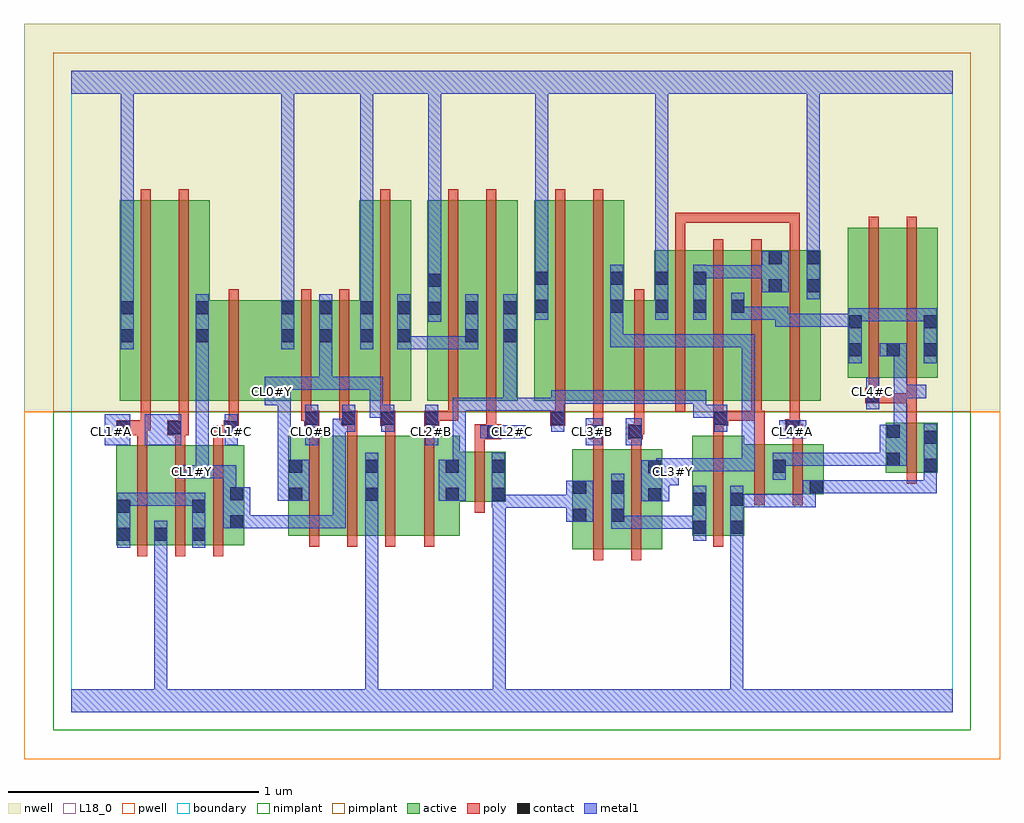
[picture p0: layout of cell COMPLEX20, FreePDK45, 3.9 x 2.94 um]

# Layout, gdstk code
import gdstk
lib = gdstk.Library(unit=1e-6, precision=1e-09)
def R(c, l, rs):  # rectangles x0, y0, x1, y1
    for r in rs: c.add(gdstk.rectangle(r[:2], r[2:], *l))
def A(c, l, x, y, w, h, nx, ny, dx, dy):  # array of equal rectangles
    R(c, l, [(x+i*dx, y+j*dy, x+i*dx+w, y+j*dy+h) for i in range(nx) for j in range(ny)])
active = (1, 0)
pwell = (2, 0)
nwell = (3, 0)
nimplant = (4, 0)
pimplant = (5, 0)
poly = (9, 0)
contact = (10, 0)
metal1 = (11, 0)
L18_0 = (18, 0)
boundary = (235, 0)

complex20 = lib.new_cell('COMPLEX20')
R(complex20, active, [(2,0.65,2.212,1.05), (2.152,0.65,2.36,1.05), (0.18,0.666,0.388,1.066), (0.18,0.666,0.24,1.066), (0.328,0.666,0.54,1.066), (0.328,0.666,0.388,1.066), (0.48,0.666,0.692,1.066), (0.48,0.68,0.54,1.066), (0.866,0.704,1.046,1.104), (0.866,0.704,0.926,1.104), (1.046,0.704,1.23,1.104), (1.17,0.704,1.35,1.104), (1.17,0.704,1.23,1.104), (1.35,0.704,1.552,1.104), (1.492,0.704,1.552,1.012), (2.48,0.704,2.688,1.104), (2.628,0.704,2.688,0.88), (2.48,0.708,2.54,1.104), (0.632,0.73,0.692,1.066), (2,0.756,2.06,1.05), (2.152,0.756,2.212,0.928), (2.3,0.756,2.36,1.05), (1.492,0.84,1.736,1.04), (1.676,0.84,1.736,1.04), (2.628,0.87,2.856,1.07), (2.796,0.87,3.004,1.07), (2.944,0.87,3.004,1.07), (2.796,0.952,2.856,1.07), (3.252,0.956,3.312,1.156), (3.252,0.956,3.46,1.156), (3.4,0.956,3.46,1.156), (0.194,1.244,0.374,2.044), (0.194,1.244,0.254,2.044), (0.374,1.244,0.554,2.044), (0.494,1.244,0.894,1.644), (0.494,1.244,0.554,1.694), (0.834,1.244,1.046,1.644), (0.834,1.244,0.894,1.644), (0.986,1.244,1.046,1.644), (0.986,1.244,1.21,1.644), (1.15,1.244,1.21,1.644), (1.15,1.244,1.358,2.044), (1.298,1.244,1.358,2.044), (1.422,1.244,1.482,2.044), (1.422,1.244,1.63,2.044), (1.57,1.244,1.782,2.044), (1.722,1.244,1.782,2.044), (1.848,1.244,2.028,2.044), (1.848,1.244,1.908,2.044), (2.028,1.244,2.208,2.044), (2.148,1.244,2.388,1.644), (2.328,1.244,2.54,1.844), (2.48,1.244,2.692,1.844), (2.632,1.244,2.84,1.844), (2.78,1.244,2.84,1.844), (2.78,1.244,2.992,1.844), (2.932,1.244,2.992,1.844), (1.57,1.31,1.63,2.044), (3.1,1.334,3.312,1.934), (3.1,1.334,3.16,1.844), (3.252,1.334,3.312,1.934), (3.252,1.334,3.46,1.934), (3.4,1.334,3.46,1.934), (2.148,1.366,2.208,2.044), (2.328,1.476,2.388,1.762), (2.48,1.556,2.54,1.844), (2.632,1.556,2.692,1.844)])
R(complex20, pwell, [(-0.188,-0.188,3.708,1.2)])
R(complex20, nwell, [(-0.188,1.2,3.708,2.748)])
R(complex20, nimplant, [(-0.072,-0.072,3.592,1.2)])
R(complex20, pimplant, [(-0.072,1.2,3.592,2.632)])
A(complex20, poly, 0.264, 0.622, 0.04, 0.488, 3, 1, 0.152, 0)
A(complex20, poly, 0.95, 0.66, 0.04, 0.488, 3, 1, 0.152, 0)
A(complex20, poly, 0.264, 1.07, 0.04, 0.076, 3, 1, 0.152, 0)
A(complex20, poly, 0.95, 1.108, 0.04, 0.076, 3, 1, 0.152, 0)
A(complex20, poly, 2.412, 1.2, 0.04, 0.688, 4, 1, 0.152, 0)
R(complex20, poly, [(2.084,0.606,2.124,1.094), (2.236,0.606,2.276,1.094), (1.41,0.66,1.45,1.148), (2.564,0.66,2.604,1.148), (1.612,0.796,1.652,1.084), (2.728,0.826,2.768,1.114), (2.88,0.826,2.92,1.114), (3.336,0.912,3.376,1.2), (1.612,1.044,1.652,1.13), (2.084,1.054,2.124,1.13), (2.236,1.054,2.276,1.13), (2.728,1.074,2.768,1.204), (2.88,1.074,2.92,1.15), (1.612,1.09,1.718,1.15), (2.064,1.09,2.124,1.15), (2.222,1.09,2.282,1.15), (0.18,1.106,0.304,1.166), (0.384,1.106,0.47,1.166), (0.416,1.106,0.456,1.146), (0.416,1.106,0.456,1.146), (0.568,1.106,0.65,1.146), (0.61,1.106,0.65,1.146), (0.61,1.106,0.67,1.166), (1.41,1.108,1.45,1.184), (2.564,1.108,2.604,1.184), (1.658,1.11,1.698,1.15), (1.658,1.11,1.698,1.15), (1.658,1.11,1.698,1.24), (2.084,1.11,2.124,1.15), (2.084,1.11,2.124,1.15), (2.084,1.11,2.124,1.24), (2.242,1.11,2.282,1.15), (2.242,1.11,2.288,1.15), (2.248,1.11,2.288,1.24), (2.85,1.11,2.91,1.17), (2.87,1.11,2.91,1.15), (2.87,1.11,2.92,1.15), (0.264,1.126,0.304,1.166), (0.264,1.126,0.318,1.166), (0.278,1.126,0.318,1.24), (0.43,1.126,0.47,1.24), (0.63,1.126,0.67,1.24), (2.868,1.13,2.908,1.24), (0.93,1.144,0.99,1.204), (1.078,1.144,1.142,1.204), (1.234,1.144,1.294,1.204), (1.254,1.144,1.294,1.184), (1.254,1.144,1.294,1.184), (1.41,1.144,1.47,1.204), (1.912,1.144,1.972,1.204), (2.564,1.144,2.604,1.184), (2.564,1.144,2.604,1.184), (2.564,1.144,2.624,1.204), (3.336,1.16,3.376,1.274), (0.918,1.164,0.958,1.24), (0.918,1.164,0.97,1.204), (0.93,1.164,0.97,1.204), (1.07,1.164,1.11,1.24), (1.07,1.164,1.118,1.204), (1.078,1.164,1.118,1.204), (1.234,1.164,1.274,1.24), (1.43,1.164,1.47,1.204), (1.43,1.164,1.546,1.204), (1.506,1.164,1.546,1.24), (1.932,1.164,1.972,1.24), (2.564,1.164,2.604,1.24), (2.584,1.164,2.624,1.204), (2.584,1.164,2.624,1.204), (2.584,1.164,2.756,1.204), (2.716,1.164,2.756,1.24), (2.716,1.164,2.768,1.204), (2.728,1.164,2.768,1.204), (2.728,1.164,2.768,1.204), (0.278,1.2,0.318,2.088), (0.43,1.2,0.47,2.088), (0.63,1.2,0.67,1.688), (0.918,1.2,0.958,1.688), (1.07,1.2,1.11,1.688), (1.234,1.2,1.274,2.088), (1.506,1.2,1.546,2.088), (1.658,1.2,1.698,2.088), (1.932,1.2,1.972,2.088), (2.084,1.2,2.124,2.088), (2.248,1.2,2.288,1.688), (3.17,1.234,3.23,1.294), (3.19,1.234,3.23,1.274), (3.19,1.234,3.23,1.274), (3.19,1.234,3.376,1.274), (3.336,1.234,3.376,1.33), (3.336,1.234,3.376,1.274), (3.336,1.234,3.376,1.274), (3.336,1.234,3.376,1.274), (3.184,1.254,3.224,1.33), (3.184,1.29,3.224,1.978), (3.336,1.29,3.376,1.978), (2.412,1.848,2.452,1.994), (2.868,1.848,2.908,1.994), (2.412,1.954,2.452,1.994), (2.412,1.954,2.452,1.994), (2.412,1.954,2.452,1.994), (2.412,1.954,2.558,1.994), (2.518,1.954,2.558,1.994), (2.518,1.954,2.558,1.994), (2.518,1.954,2.558,1.994), (2.518,1.954,2.784,1.994), (2.744,1.954,2.784,1.994), (2.744,1.954,2.908,1.994), (2.868,1.954,2.908,1.994), (2.868,1.954,2.908,1.994), (2.868,1.954,2.908,1.994)])
A(complex20, contact, 2.332, 1.594, 0.052, 0.052, 3, 1, 0.152, 0)
R(complex20, contact, [(0.184,0.684,0.236,0.736), (0.332,0.684,0.384,0.736), (0.484,0.684,0.536,0.736), (2.484,0.712,2.536,0.764), (2.632,0.712,2.684,0.764), (0.636,0.734,0.688,0.786), (2.004,0.76,2.056,0.812), (2.156,0.76,2.208,0.812), (0.184,0.796,0.236,0.848), (0.484,0.796,0.536,0.848), (2.484,0.824,2.536,0.876), (2.632,0.824,2.684,0.876), (2.304,0.842,2.356,0.894), (0.87,0.844,0.922,0.896), (1.174,0.844,1.226,0.896), (1.496,0.844,1.548,0.896), (1.68,0.844,1.732,0.896), (0.636,0.846,0.688,0.898), (2.004,0.872,2.056,0.924), (2.156,0.872,2.208,0.924), (2.948,0.874,3,0.926), (2.304,0.954,2.356,1.006), (0.87,0.956,0.922,1.008), (1.174,0.956,1.226,1.008), (1.496,0.956,1.548,1.008), (1.68,0.956,1.732,1.008), (2.8,0.956,2.852,1.008), (3.404,0.96,3.456,1.012), (3.256,0.984,3.308,1.036), (3.404,1.072,3.456,1.124), (1.662,1.094,1.714,1.146), (2.068,1.094,2.12,1.146), (2.226,1.094,2.278,1.146), (3.256,1.096,3.308,1.148), (0.184,1.11,0.236,1.162), (0.388,1.11,0.44,1.162), (0.614,1.11,0.666,1.162), (2.854,1.114,2.906,1.166), (0.934,1.148,0.986,1.2), (1.082,1.148,1.134,1.2), (1.238,1.148,1.29,1.2), (1.414,1.148,1.466,1.2), (1.916,1.148,1.968,1.2), (2.568,1.148,2.62,1.2), (3.174,1.238,3.226,1.29), (3.104,1.42,3.156,1.472), (3.256,1.42,3.308,1.472), (3.404,1.42,3.456,1.472), (0.198,1.476,0.25,1.528), (0.498,1.476,0.55,1.528), (0.838,1.476,0.89,1.528), (0.99,1.476,1.042,1.528), (1.154,1.476,1.206,1.528), (1.302,1.476,1.354,1.528), (1.574,1.476,1.626,1.528), (1.726,1.476,1.778,1.528), (3.104,1.532,3.156,1.584), (3.404,1.532,3.456,1.584), (1.426,1.586,1.478,1.638), (0.198,1.588,0.25,1.64), (0.498,1.588,0.55,1.64), (0.838,1.588,0.89,1.64), (0.99,1.588,1.042,1.64), (1.154,1.588,1.206,1.64), (1.302,1.588,1.354,1.64), (1.574,1.588,1.626,1.64), (1.726,1.588,1.778,1.64), (1.852,1.594,1.904,1.646), (2.152,1.594,2.204,1.646), (2.784,1.676,2.836,1.728), (2.936,1.676,2.988,1.728), (1.426,1.698,1.478,1.75), (1.852,1.706,1.904,1.758), (2.152,1.706,2.204,1.758), (2.332,1.706,2.384,1.758), (2.484,1.706,2.536,1.758), (2.784,1.788,2.836,1.84), (2.936,1.788,2.988,1.84)])
R(complex20, metal1, [(0,0,3.52,0.092), (0.332,0.04,0.384,0.092), (0.332,0.04,0.384,0.092), (0.332,0.04,0.384,0.092), (0.332,0.04,0.384,0.092), (0.332,0.04,0.384,0.092), (0.332,0.04,0.384,0.092), (0.332,0.04,0.384,0.708), (1.174,0.04,1.226,0.092), (1.174,0.04,1.226,0.092), (1.174,0.04,1.226,0.092), (1.174,0.04,1.226,0.092), (1.174,0.04,1.226,0.092), (1.174,0.04,1.226,0.092), (1.174,0.04,1.226,0.868), (1.684,0.04,1.736,0.092), (1.684,0.04,1.736,0.092), (1.684,0.04,1.736,0.092), (1.684,0.04,1.736,0.092), (1.684,0.04,1.736,0.092), (1.684,0.04,1.736,0.092), (1.684,0.04,1.736,0.092), (1.684,0.04,1.736,0.092), (1.684,0.04,1.736,0.092), (1.684,0.04,1.736,0.092), (1.684,0.04,1.736,0.092), (1.684,0.04,1.736,0.092), (1.684,0.04,1.736,0.868), (2.632,0.04,2.684,0.092), (2.632,0.04,2.684,0.092), (2.632,0.04,2.684,0.092), (2.632,0.04,2.684,0.092), (2.632,0.04,2.684,0.092), (2.632,0.04,2.684,0.092), (2.632,0.04,2.684,0.092), (2.632,0.04,2.684,0.092), (2.632,0.04,2.684,0.736), (0.184,0.656,0.236,0.876), (0.332,0.656,0.384,0.708), (0.332,0.656,0.384,0.708), (0.332,0.656,0.384,0.708), (0.332,0.656,0.384,0.708), (0.332,0.656,0.384,0.708), (0.332,0.656,0.384,0.708), (0.332,0.656,0.384,0.764), (0.484,0.656,0.536,0.876), (2.484,0.684,2.536,0.904), (2.632,0.684,2.684,0.736), (2.632,0.684,2.684,0.736), (2.632,0.684,2.684,0.736), (2.632,0.684,2.684,0.736), (2.632,0.684,2.684,0.904), (2.156,0.732,2.208,0.784), (2.156,0.732,2.208,0.784), (2.156,0.732,2.208,0.952), (2.156,0.732,2.388,0.784), (2.336,0.732,2.388,0.784), (2.336,0.732,2.388,0.784), (2.336,0.732,2.388,0.784), (2.336,0.732,2.536,0.784), (0.608,0.734,0.716,0.898), (0.664,0.734,0.716,0.786), (0.664,0.734,0.716,0.786), (0.664,0.734,0.826,0.786), (0.774,0.734,0.826,0.786), (0.774,0.734,0.826,0.786), (0.774,0.734,0.826,0.786), (0.774,0.734,1.096,0.786), (1.044,0.734,1.096,0.786), (1.044,0.734,1.096,0.786), (1.044,0.734,1.096,0.786), (1.044,0.734,1.096,1.172), (1.976,0.76,2.084,0.924), (1.174,0.816,1.226,0.868), (1.174,0.816,1.226,0.868), (1.174,0.816,1.226,0.868), (1.174,0.816,1.226,0.868), (1.174,0.816,1.226,0.868), (1.174,0.816,1.226,0.868), (1.174,0.816,1.226,1.036), (1.68,0.816,1.732,1.036), (1.68,0.816,1.736,0.868), (1.684,0.816,1.736,0.868), (1.684,0.816,1.736,0.868), (1.684,0.816,1.736,0.868), (1.684,0.816,1.736,0.868), (1.684,0.816,1.736,0.868), (1.684,0.816,1.736,0.868), (1.684,0.816,1.736,0.868), (1.684,0.816,1.968,0.868), (1.916,0.816,1.968,0.868), (1.916,0.816,2.028,0.868), (2.632,0.818,2.73,0.87), (2.678,0.818,2.73,0.87), (2.678,0.818,2.862,0.87), (2.81,0.818,2.862,0.87), (2.81,0.818,2.862,0.87), (2.81,0.818,2.862,0.87), (2.81,0.818,2.862,0.87), (2.81,0.818,2.862,0.87), (2.81,0.818,2.972,0.87), (2.92,0.818,2.972,0.926), (0.184,0.824,0.236,0.876), (0.184,0.824,0.236,0.876), (0.184,0.824,0.368,0.876), (0.316,0.824,0.368,0.876), (0.316,0.824,0.536,0.876), (0.484,0.824,0.536,0.876), (0.484,0.824,0.536,0.876), (2.276,0.842,2.388,1.006), (0.824,0.844,0.95,1.008), (1.468,0.844,1.576,1.008), (0.608,0.846,0.66,0.986), (2.92,0.874,2.972,0.926), (2.92,0.874,3.028,0.926), (2.976,0.874,3.156,0.926), (3.104,0.874,3.156,0.926), (3.104,0.874,3.266,0.926), (3.214,0.874,3.266,0.926), (3.214,0.874,3.266,0.926), (3.214,0.874,3.266,0.926), (3.214,0.874,3.456,0.926), (3.404,0.874,3.456,0.984), (2.336,0.906,2.426,1.014), (2.8,0.928,2.852,1.036), (3.404,0.932,3.456,0.984), (3.404,0.932,3.456,1.152), (0.426,0.934,0.55,0.986), (0.498,0.934,0.55,0.986), (0.498,0.934,0.55,0.986), (0.498,0.934,0.66,0.986), (0.498,0.934,0.55,1.5), (0.608,0.934,0.66,0.986), (0.608,0.934,0.66,0.986), (0.608,0.934,0.66,0.986), (2.336,0.954,2.388,1.006), (0.824,0.956,0.876,1.008), (0.824,0.956,0.876,1.008), (0.824,0.956,0.876,1.278), (1.524,0.956,1.576,1.256), (2.374,0.962,2.426,1.014), (2.374,0.962,2.426,1.014), (2.374,0.962,2.574,1.014), (2.522,0.962,2.574,1.014), (2.522,0.962,2.574,1.014), (2.522,0.962,2.574,1.014), (2.522,0.962,2.73,1.014), (2.678,0.962,2.73,1.014), (2.678,0.962,2.73,1.508), (2.8,0.984,2.852,1.036), (2.8,0.984,2.852,1.036), (2.8,0.984,3.116,1.036), (3.064,0.984,3.116,1.036), (3.064,0.984,3.116,1.036), (3.064,0.984,3.116,1.036), (3.064,0.984,3.28,1.036), (3.228,0.984,3.28,1.036), (3.228,0.984,3.28,1.036), (3.228,0.984,3.336,1.148), (0.134,1.066,0.236,1.19), (0.294,1.066,0.44,1.19), (0.614,1.066,0.666,1.19), (0.934,1.066,0.986,1.228), (1.414,1.066,1.466,1.228), (2.054,1.066,2.12,1.174), (2.214,1.066,2.278,1.174), (1.634,1.094,1.814,1.146), (2.826,1.094,2.934,1.166), (3.284,1.096,3.336,1.306), (1.044,1.12,1.096,1.172), (1.044,1.12,1.134,1.172), (1.082,1.12,1.134,1.228), (1.238,1.12,1.29,1.228), (1.916,1.12,1.968,1.256), (2.568,1.12,2.62,1.228), (1.192,1.176,1.29,1.228), (1.192,1.176,1.244,1.338), (2.484,1.176,2.536,1.284), (2.484,1.176,2.62,1.228), (1.524,1.204,1.576,1.256), (1.524,1.204,1.576,1.256), (1.524,1.204,1.576,1.256), (1.524,1.204,1.576,1.256), (1.524,1.204,1.576,1.256), (1.524,1.204,1.778,1.256), (1.726,1.204,1.778,1.256), (1.726,1.204,1.778,1.256), (1.726,1.204,1.778,1.256), (1.726,1.204,1.968,1.256), (1.726,1.204,1.778,1.5), (1.916,1.204,1.968,1.256), (1.916,1.204,1.968,1.284), (3.174,1.21,3.226,1.334), (0.774,1.226,0.876,1.338), (1.916,1.232,2.078,1.284), (2.026,1.232,2.078,1.284), (2.026,1.232,2.188,1.284), (2.136,1.232,2.188,1.284), (2.136,1.232,2.188,1.284), (2.136,1.232,2.188,1.284), (2.136,1.232,2.388,1.284), (2.336,1.232,2.388,1.284), (2.336,1.232,2.388,1.284), (2.336,1.232,2.388,1.284), (2.336,1.232,2.536,1.284), (3.284,1.254,3.336,1.306), (3.284,1.254,3.336,1.306), (3.284,1.254,3.336,1.472), (3.284,1.254,3.414,1.306), (0.824,1.286,0.876,1.338), (0.824,1.286,0.876,1.338), (0.824,1.286,1.042,1.338), (0.99,1.286,1.042,1.338), (0.99,1.286,1.096,1.338), (0.99,1.286,1.042,1.5), (1.044,1.286,1.096,1.338), (1.044,1.286,1.244,1.338), (3.104,1.392,3.156,1.612), (3.404,1.392,3.456,1.612), (3.228,1.42,3.336,1.472), (0.198,1.448,0.25,1.668), (0.498,1.448,0.55,1.668), (0.838,1.448,0.89,1.668), (0.99,1.448,1.042,1.668), (1.154,1.448,1.206,1.668), (1.302,1.448,1.354,1.5), (1.302,1.448,1.354,1.5), (1.302,1.448,1.354,1.668), (1.302,1.448,1.466,1.5), (1.414,1.448,1.466,1.5), (1.414,1.448,1.626,1.5), (1.574,1.448,1.626,1.668), (1.726,1.448,1.778,1.668), (2.152,1.456,2.388,1.508), (2.152,1.456,2.204,1.618), (2.336,1.456,2.388,1.508), (2.336,1.456,2.388,1.508), (2.336,1.456,2.388,1.508), (2.336,1.456,2.536,1.508), (2.484,1.456,2.536,1.508), (2.484,1.456,2.536,1.508), (2.484,1.456,2.536,1.508), (2.484,1.456,2.73,1.508), (2.678,1.456,2.73,1.508), (2.678,1.456,2.73,1.508), (2.678,1.456,2.73,1.508), (2.81,1.538,2.862,1.59), (2.81,1.538,2.862,1.59), (2.81,1.538,2.862,1.59), (2.81,1.538,3.116,1.59), (2.81,1.538,2.862,1.618), (3.064,1.538,3.116,1.59), (3.064,1.538,3.156,1.59), (1.426,1.558,1.478,1.778), (3.104,1.56,3.156,1.612), (3.104,1.56,3.156,1.612), (3.104,1.56,3.266,1.612), (3.214,1.56,3.266,1.612), (3.214,1.56,3.266,1.612), (3.214,1.56,3.266,1.612), (3.214,1.56,3.456,1.612), (3.404,1.56,3.456,1.612), (3.404,1.56,3.456,1.612), (1.852,1.566,1.904,1.786), (2.152,1.566,2.204,1.618), (2.152,1.566,2.204,1.786), (2.332,1.566,2.384,1.786), (2.484,1.566,2.536,1.786), (2.636,1.566,2.688,1.674), (2.636,1.566,2.73,1.618), (2.678,1.566,2.73,1.618), (2.678,1.566,2.862,1.618), (2.81,1.566,2.862,1.618), (0.198,1.616,0.25,2.52), (0.838,1.616,0.89,1.668), (0.838,1.616,0.89,1.668), (0.838,1.616,0.89,1.668), (0.838,1.616,0.89,1.668), (0.838,1.616,0.89,2.52), (1.154,1.616,1.206,2.52), (2.936,1.648,2.988,1.868), (2.756,1.676,2.864,1.84), (1.426,1.726,1.478,1.778), (1.426,1.726,1.478,1.778), (1.426,1.726,1.478,2.52), (2.484,1.732,2.536,1.784), (2.484,1.732,2.536,1.784), (2.484,1.732,2.698,1.784), (2.646,1.732,2.698,1.784), (2.646,1.732,2.73,1.784), (2.678,1.732,2.73,1.784), (2.678,1.732,2.808,1.784), (1.852,1.734,1.904,2.52), (2.332,1.734,2.384,2.52), (2.936,1.816,2.988,2.52), (0,2.468,3.52,2.56), (0.198,2.468,0.25,2.52), (0.198,2.468,0.25,2.52), (0.198,2.468,0.25,2.52), (0.198,2.468,0.25,2.52), (0.198,2.468,0.25,2.52), (0.198,2.468,0.25,2.52), (0.198,2.468,0.25,2.52), (0.198,2.468,0.25,2.52), (0.838,2.468,0.89,2.52), (0.838,2.468,0.89,2.52), (0.838,2.468,0.89,2.52), (0.838,2.468,0.89,2.52), (0.838,2.468,0.89,2.52), (0.838,2.468,0.89,2.52), (0.838,2.468,0.89,2.52), (0.838,2.468,0.89,2.52), (0.838,2.468,0.89,2.52), (0.838,2.468,0.89,2.52), (0.838,2.468,0.89,2.52), (0.838,2.468,0.89,2.52), (1.154,2.468,1.206,2.52), (1.154,2.468,1.206,2.52), (1.154,2.468,1.206,2.52), (1.154,2.468,1.206,2.52), (1.154,2.468,1.206,2.52), (1.154,2.468,1.206,2.52), (1.154,2.468,1.206,2.52), (1.154,2.468,1.206,2.52), (1.426,2.468,1.478,2.52), (1.426,2.468,1.478,2.52), (1.426,2.468,1.478,2.52), (1.426,2.468,1.478,2.52), (1.426,2.468,1.478,2.52), (1.426,2.468,1.478,2.52), (1.852,2.468,1.904,2.52), (1.852,2.468,1.904,2.52), (1.852,2.468,1.904,2.52), (1.852,2.468,1.904,2.52), (1.852,2.468,1.904,2.52), (1.852,2.468,1.904,2.52), (1.852,2.468,1.904,2.52), (1.852,2.468,1.904,2.52), (2.332,2.468,2.384,2.52), (2.332,2.468,2.384,2.52), (2.332,2.468,2.384,2.52), (2.332,2.468,2.384,2.52), (2.332,2.468,2.384,2.52), (2.332,2.468,2.384,2.52), (2.332,2.468,2.384,2.52), (2.332,2.468,2.384,2.52), (2.332,2.468,2.384,2.52), (2.332,2.468,2.384,2.52), (2.332,2.468,2.384,2.52), (2.332,2.468,2.384,2.52), (2.936,2.468,2.988,2.52), (2.936,2.468,2.988,2.52), (2.936,2.468,2.988,2.52), (2.936,2.468,2.988,2.52), (2.936,2.468,2.988,2.52), (2.936,2.468,2.988,2.52), (2.936,2.468,2.988,2.52), (2.936,2.468,2.988,2.52), (2.936,2.468,2.988,2.52), (2.936,2.468,2.988,2.52), (2.936,2.468,2.988,2.52), (2.936,2.468,2.988,2.52)])
A(complex20, L18_0, 0.294, 1.094, 0.052, 0.052, 3, 1, 0.32, 0)
A(complex20, L18_0, 1.414, 1.094, 0.052, 0.052, 3, 1, 0.32, 0)
R(complex20, L18_0, [(0,0,3.52,0.092), (0.332,0.04,0.384,0.092), (0.332,0.04,0.384,0.092), (0.332,0.04,0.384,0.092), (0.332,0.04,0.384,0.092), (0.332,0.04,0.384,0.092), (0.332,0.04,0.384,0.092), (0.332,0.04,0.384,0.708), (1.174,0.04,1.226,0.092), (1.174,0.04,1.226,0.092), (1.174,0.04,1.226,0.092), (1.174,0.04,1.226,0.092), (1.174,0.04,1.226,0.092), (1.174,0.04,1.226,0.092), (1.174,0.04,1.226,0.868), (1.684,0.04,1.736,0.092), (1.684,0.04,1.736,0.092), (1.684,0.04,1.736,0.092), (1.684,0.04,1.736,0.092), (1.684,0.04,1.736,0.092), (1.684,0.04,1.736,0.092), (1.684,0.04,1.736,0.092), (1.684,0.04,1.736,0.092), (1.684,0.04,1.736,0.092), (1.684,0.04,1.736,0.092), (1.684,0.04,1.736,0.092), (1.684,0.04,1.736,0.092), (1.684,0.04,1.736,0.868), (2.632,0.04,2.684,0.092), (2.632,0.04,2.684,0.092), (2.632,0.04,2.684,0.092), (2.632,0.04,2.684,0.092), (2.632,0.04,2.684,0.092), (2.632,0.04,2.684,0.092), (2.632,0.04,2.684,0.092), (2.632,0.04,2.684,0.092), (2.632,0.04,2.684,0.736), (0.332,0.656,0.384,0.708), (0.332,0.656,0.384,0.708), (0.332,0.656,0.384,0.708), (0.332,0.656,0.384,0.708), (0.332,0.656,0.384,0.708), (0.332,0.656,0.384,0.708), (0.332,0.656,0.384,0.764), (2.632,0.684,2.684,0.904), (2.632,0.684,2.684,0.736), (2.632,0.684,2.684,0.736), (2.632,0.684,2.684,0.736), (2.632,0.684,2.684,0.736), (0.608,0.734,0.716,0.898), (0.664,0.734,0.716,0.786), (0.664,0.734,0.716,0.786), (0.664,0.734,0.826,0.786), (0.774,0.734,0.826,0.786), (0.774,0.734,0.826,0.786), (0.774,0.734,0.826,0.786), (0.774,0.734,1.096,0.786), (1.044,0.734,1.096,0.786), (1.044,0.734,1.096,0.786), (1.044,0.734,1.096,0.786), (1.044,0.734,1.096,1.172), (1.976,0.76,2.084,0.924), (1.174,0.816,1.226,1.036), (1.174,0.816,1.226,0.868), (1.174,0.816,1.226,0.868), (1.174,0.816,1.226,0.868), (1.174,0.816,1.226,0.868), (1.174,0.816,1.226,0.868), (1.174,0.816,1.226,0.868), (1.68,0.816,1.732,1.036), (1.68,0.816,1.736,0.868), (1.684,0.816,1.736,0.868), (1.684,0.816,1.736,0.868), (1.684,0.816,1.736,0.868), (1.684,0.816,1.736,0.868), (1.684,0.816,1.736,0.868), (1.684,0.816,1.736,0.868), (1.684,0.816,1.736,0.868), (1.684,0.816,1.968,0.868), (1.916,0.816,1.968,0.868), (1.916,0.816,2.028,0.868), (2.632,0.818,2.73,0.87), (2.678,0.818,2.73,0.87), (2.678,0.818,2.862,0.87), (2.81,0.818,2.862,0.87), (2.81,0.818,2.862,0.87), (2.81,0.818,2.862,0.87), (2.81,0.818,2.862,0.87), (2.81,0.818,2.862,0.87), (2.81,0.818,2.972,0.87), (2.92,0.818,2.972,0.926), (2.276,0.842,2.388,1.006), (0.824,0.844,0.95,1.008), (0.608,0.846,0.66,0.986), (2.92,0.874,2.972,0.926), (2.92,0.874,3.028,0.926), (2.976,0.874,3.156,0.926), (3.104,0.874,3.156,0.926), (3.104,0.874,3.266,0.926), (3.214,0.874,3.266,0.926), (3.214,0.874,3.266,0.926), (3.214,0.874,3.266,0.926), (3.214,0.874,3.456,0.926), (3.404,0.874,3.456,0.984), (2.336,0.906,2.426,1.014), (2.8,0.928,2.852,1.036), (3.404,0.932,3.456,1.152), (3.404,0.932,3.456,0.984), (0.426,0.934,0.55,0.986), (0.454,0.934,0.506,0.986), (0.498,0.934,0.55,0.986), (0.498,0.934,0.55,0.986), (0.498,0.934,0.55,1.5), (0.498,0.934,0.66,0.986), (0.608,0.934,0.66,0.986), (0.608,0.934,0.66,0.986), (0.608,0.934,0.66,0.986), (2.374,0.934,2.426,0.986), (2.336,0.954,2.388,1.006), (0.824,0.956,0.876,1.008), (0.824,0.956,0.876,1.008), (0.824,0.956,0.876,1.278), (2.374,0.962,2.426,1.014), (2.374,0.962,2.426,1.014), (2.374,0.962,2.574,1.014), (2.522,0.962,2.574,1.014), (2.522,0.962,2.574,1.014), (2.522,0.962,2.574,1.014), (2.522,0.962,2.73,1.014), (2.678,0.962,2.73,1.014), (2.678,0.962,2.73,1.508), (2.8,0.984,2.852,1.036), (2.8,0.984,2.852,1.036), (2.8,0.984,3.116,1.036), (3.064,0.984,3.116,1.036), (3.064,0.984,3.116,1.036), (3.064,0.984,3.116,1.036), (3.064,0.984,3.28,1.036), (3.228,0.984,3.28,1.036), (3.228,0.984,3.28,1.036), (3.228,0.984,3.336,1.148), (0.134,1.066,0.236,1.19), (0.294,1.066,0.44,1.19), (0.614,1.066,0.666,1.19), (0.934,1.066,0.986,1.228), (1.414,1.066,1.466,1.228), (2.054,1.066,2.12,1.174), (2.214,1.066,2.278,1.174), (0.134,1.094,0.186,1.146), (1.634,1.094,1.814,1.146), (2.214,1.094,2.266,1.146), (2.826,1.094,2.934,1.166), (2.854,1.094,2.906,1.146), (3.284,1.096,3.336,1.306), (1.044,1.12,1.096,1.172), (1.044,1.12,1.134,1.172), (1.082,1.12,1.134,1.228), (1.238,1.12,1.29,1.228), (1.192,1.176,1.244,1.338), (1.192,1.176,1.29,1.228), (3.174,1.21,3.226,1.334), (0.774,1.226,0.876,1.338), (0.774,1.254,0.826,1.306), (3.174,1.254,3.226,1.306), (3.284,1.254,3.336,1.306), (3.284,1.254,3.336,1.306), (3.284,1.254,3.414,1.306), (3.284,1.254,3.336,1.472), (3.334,1.254,3.386,1.306), (0.824,1.286,0.876,1.338), (0.824,1.286,0.876,1.338), (0.824,1.286,1.042,1.338), (0.99,1.286,1.042,1.338), (0.99,1.286,1.042,1.5), (0.99,1.286,1.096,1.338), (1.044,1.286,1.096,1.338), (1.044,1.286,1.244,1.338), (3.228,1.42,3.336,1.472), (0.198,1.448,0.25,1.668), (0.498,1.448,0.55,1.668), (0.838,1.448,0.89,1.668), (0.99,1.448,1.042,1.668), (1.154,1.448,1.206,1.668), (2.152,1.456,2.204,1.618), (2.152,1.456,2.388,1.508), (2.336,1.456,2.388,1.508), (2.336,1.456,2.388,1.508), (2.336,1.456,2.388,1.508), (2.336,1.456,2.536,1.508), (2.484,1.456,2.536,1.508), (2.484,1.456,2.536,1.508), (2.484,1.456,2.536,1.508), (2.484,1.456,2.73,1.508), (2.678,1.456,2.73,1.508), (2.678,1.456,2.73,1.508), (2.678,1.456,2.73,1.508), (1.426,1.558,1.478,1.778), (1.852,1.566,1.904,1.786), (2.152,1.566,2.204,1.786), (2.152,1.566,2.204,1.618), (2.332,1.566,2.384,1.786), (0.198,1.616,0.25,2.52), (0.838,1.616,0.89,1.668), (0.838,1.616,0.89,1.668), (0.838,1.616,0.89,1.668), (0.838,1.616,0.89,1.668), (0.838,1.616,0.89,2.52), (1.154,1.616,1.206,2.52), (2.936,1.648,2.988,1.868), (1.426,1.726,1.478,1.778), (1.426,1.726,1.478,1.778), (1.426,1.726,1.478,2.52), (1.852,1.734,1.904,2.52), (2.332,1.734,2.384,2.52), (2.936,1.816,2.988,2.52), (0,2.468,3.52,2.56), (0.198,2.468,0.25,2.52), (0.198,2.468,0.25,2.52), (0.198,2.468,0.25,2.52), (0.198,2.468,0.25,2.52), (0.198,2.468,0.25,2.52), (0.198,2.468,0.25,2.52), (0.198,2.468,0.25,2.52), (0.198,2.468,0.25,2.52), (0.838,2.468,0.89,2.52), (0.838,2.468,0.89,2.52), (0.838,2.468,0.89,2.52), (0.838,2.468,0.89,2.52), (0.838,2.468,0.89,2.52), (0.838,2.468,0.89,2.52), (0.838,2.468,0.89,2.52), (0.838,2.468,0.89,2.52), (0.838,2.468,0.89,2.52), (0.838,2.468,0.89,2.52), (0.838,2.468,0.89,2.52), (0.838,2.468,0.89,2.52), (1.154,2.468,1.206,2.52), (1.154,2.468,1.206,2.52), (1.154,2.468,1.206,2.52), (1.154,2.468,1.206,2.52), (1.154,2.468,1.206,2.52), (1.154,2.468,1.206,2.52), (1.154,2.468,1.206,2.52), (1.154,2.468,1.206,2.52), (1.426,2.468,1.478,2.52), (1.426,2.468,1.478,2.52), (1.426,2.468,1.478,2.52), (1.426,2.468,1.478,2.52), (1.426,2.468,1.478,2.52), (1.426,2.468,1.478,2.52), (1.852,2.468,1.904,2.52), (1.852,2.468,1.904,2.52), (1.852,2.468,1.904,2.52), (1.852,2.468,1.904,2.52), (1.852,2.468,1.904,2.52), (1.852,2.468,1.904,2.52), (1.852,2.468,1.904,2.52), (1.852,2.468,1.904,2.52), (2.332,2.468,2.384,2.52), (2.332,2.468,2.384,2.52), (2.332,2.468,2.384,2.52), (2.332,2.468,2.384,2.52), (2.332,2.468,2.384,2.52), (2.332,2.468,2.384,2.52), (2.332,2.468,2.384,2.52), (2.332,2.468,2.384,2.52), (2.332,2.468,2.384,2.52), (2.332,2.468,2.384,2.52), (2.332,2.468,2.384,2.52), (2.332,2.468,2.384,2.52), (2.936,2.468,2.988,2.52), (2.936,2.468,2.988,2.52), (2.936,2.468,2.988,2.52), (2.936,2.468,2.988,2.52), (2.936,2.468,2.988,2.52), (2.936,2.468,2.988,2.52), (2.936,2.468,2.988,2.52), (2.936,2.468,2.988,2.52), (2.936,2.468,2.988,2.52), (2.936,2.468,2.988,2.52), (2.936,2.468,2.988,2.52), (2.936,2.468,2.988,2.52)])
R(complex20, boundary, [(0,0,3.52,2.56)])
complex20.add(gdstk.Label('CL0#B', (0.96,1.12), layer=11, texttype=0))
complex20.add(gdstk.Label('CL0#Y', (0.8,1.28), layer=11, texttype=0))
complex20.add(gdstk.Label('CL1#A', (0.16,1.12), layer=11, texttype=0))
complex20.add(gdstk.Label('CL1#B', (0.32,1.12), layer=11, texttype=0))
complex20.add(gdstk.Label('CL1#C', (0.64,1.12), layer=11, texttype=0))
complex20.add(gdstk.Label('CL1#Y', (0.48,0.96), layer=11, texttype=0))
complex20.add(gdstk.Label('CL2#B', (1.44,1.12), layer=11, texttype=0))
complex20.add(gdstk.Label('CL2#C', (1.76,1.12), layer=11, texttype=0))
complex20.add(gdstk.Label('CL3#B', (2.08,1.12), layer=11, texttype=0))
complex20.add(gdstk.Label('CL3#C', (2.24,1.12), layer=11, texttype=0))
complex20.add(gdstk.Label('CL3#Y', (2.4,0.96), layer=11, texttype=0))
complex20.add(gdstk.Label('CL4#A', (2.88,1.12), layer=11, texttype=0))
complex20.add(gdstk.Label('CL4#C', (3.2,1.28), layer=11, texttype=0))
complex20.add(gdstk.Label('CL4#Y', (3.36,1.28), layer=11, texttype=0))

lib.write_gds('COMPLEX20.gds')
